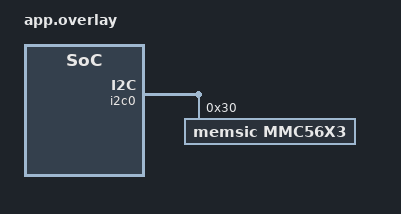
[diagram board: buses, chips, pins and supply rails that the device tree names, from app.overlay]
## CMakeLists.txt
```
# Copyright The Zephyr Project Contributors
# SPDX-License-Identifier: Apache-2.0

cmake_minimum_required(VERSION 3.28.0)
find_package(Zephyr REQUIRED HINTS $ENV{ZEPHYR_BASE})
project(mmc56x3)

target_include_directories(app PRIVATE ${ZEPHYR_BASE}/drivers/sensor/memsic/mmc56x3)
target_sources(app PRIVATE src/main.c)
```

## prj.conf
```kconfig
# Copyright The Zephyr Project Contributors
# SPDX-License-Identifier: Apache-2.0

CONFIG_ZTEST=y
CONFIG_SENSOR=y
CONFIG_SENSOR_ASYNC_API=y
# Enables the emulated I2C controller the device sits on
CONFIG_EMUL=y
# No emulator backs the device itself, so its initialization fails: only its decoder is tested
CONFIG_SENSOR_LOG_LEVEL_OFF=y
```

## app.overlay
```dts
/*
 * Copyright The Zephyr Project Contributors
 *
 * SPDX-License-Identifier: Apache-2.0
 */

&i2c0 {
	mmc56x3: mmc56x3@30 {
		compatible = "memsic,mmc56x3";
		reg = <0x30>;
		magn-odr = <0>;
	};
};
```

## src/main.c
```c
/*
 * Copyright The Zephyr Project Contributors
 *
 * SPDX-License-Identifier: Apache-2.0
 */

#include <string.h>

#include <zephyr/drivers/sensor.h>
#include <zephyr/ztest.h>

#include "mmc56x3.h"

/* Allowed error of a decoded magnetic field, in micro-Gauss */
#define TOLERANCE_UGAUSS 1
/* Allowed error of a decoded temperature, in micro-degC */
#define TOLERANCE_UCEL   10

#define MAGN_LSB_PER_GAUSS 16384
#define MAGN_MIN           (-(1 << 19))
#define MAGN_MAX           ((1 << 19) - 1)

#define TIMESTAMP_NS 123456789012ULL

static const struct sensor_decoder_api *decoder = SENSOR_DECODER_DT_GET(DT_NODELABEL(mmc56x3));

static const struct sensor_chan_spec chan_temp = {SENSOR_CHAN_AMBIENT_TEMP, 0};
static const struct sensor_chan_spec chan_x = {SENSOR_CHAN_MAGN_X, 0};
static const struct sensor_chan_spec chan_y = {SENSOR_CHAN_MAGN_Y, 0};
static const struct sensor_chan_spec chan_z = {SENSOR_CHAN_MAGN_Z, 0};
static const struct sensor_chan_spec chan_xyz = {SENSOR_CHAN_MAGN_XYZ, 0};

static int64_t q31_to_micro(q31_t value, int8_t shift)
{
	return ((int64_t)value * 1000000) >> (31 - shift);
}

static void check_magn(q31_t value, int8_t shift, int32_t raw)
{
	int64_t expected = (int64_t)raw * 1000000 / MAGN_LSB_PER_GAUSS;
	int64_t actual = q31_to_micro(value, shift);

	zassert_within(actual, expected, TOLERANCE_UGAUSS, "raw %d: got %lld, expected %lld", raw,
		       actual, expected);
}

static void check_temp(q31_t value, int8_t shift, uint32_t raw)
{
	int64_t expected = -75000000LL + (int64_t)raw * 800000;
	int64_t actual = q31_to_micro(value, shift);

	zassert_within(actual, expected, TOLERANCE_UCEL, "raw %u: got %lld, expected %lld", raw,
		       actual, expected);
}

static void fill_edata(struct mmc56x3_encoded_data *edata, bool temp, bool x, bool y, bool z)
{
	memset(edata, 0, sizeof(*edata));
	edata->header.timestamp = TIMESTAMP_NS;
	edata->has_temp = temp ? 1 : 0;
	edata->has_magn_x = x ? 1 : 0;
	edata->has_magn_y = y ? 1 : 0;
	edata->has_magn_z = z ? 1 : 0;
	edata->data.temp = 125;
	edata->data.magn_x = MAGN_LSB_PER_GAUSS;
	edata->data.magn_y = MAGN_MIN;
	edata->data.magn_z = MAGN_MAX;
}

/* Decode a q31 channel, checking the header and the timestamp */
static q31_t decode_q31(const uint8_t *buffer, struct sensor_chan_spec chan, int8_t shift)
{
	struct sensor_q31_data out;
	uint16_t frame_count;
	uint32_t fit = 0;

	zassert_ok(decoder->get_frame_count(buffer, chan, &frame_count));
	zassert_equal(frame_count, 1);

	memset(&out, 0xff, sizeof(out));
	zassert_equal(decoder->decode(buffer, chan, &fit, 1, &out), 1);
	zassert_equal(out.header.reading_count, 1);
	zassert_equal(out.header.base_timestamp_ns, TIMESTAMP_NS);
	zassert_equal(out.readings[0].timestamp_delta, 0);
	zassert_equal(out.shift, shift);
	zassert_equal(decoder->decode(buffer, chan, &fit, 1, &out), 0);

	return out.readings[0].value;
}

static void check_unsupported(const uint8_t *buffer, struct sensor_chan_spec chan)
{
	struct sensor_three_axis_data out;
	size_t base_size;
	size_t frame_size;
	uint16_t frame_count;
	uint32_t fit = 0;

	zassert_equal(decoder->get_size_info(chan, &base_size, &frame_size), -ENOTSUP);
	zassert_equal(decoder->get_frame_count(buffer, chan, &frame_count), -ENOTSUP);
	zassert_equal(decoder->decode(buffer, chan, &fit, 1, &out), -ENOTSUP);
	zassert_equal(decoder->decode(buffer, chan, &fit, 0, &out), -ENOTSUP);
}

/* A channel the buffer was not read for */
static void check_absent(const uint8_t *buffer, struct sensor_chan_spec chan)
{
	struct sensor_three_axis_data out;
	uint16_t frame_count = 1;
	uint32_t fit = 0;

	zassert_equal(decoder->get_frame_count(buffer, chan, &frame_count), -ENOTSUP);
	zassert_equal(frame_count, 0);
	zassert_equal(decoder->decode(buffer, chan, &fit, 1, &out), -ENODATA);
	zassert_equal(decoder->decode(buffer, chan, &fit, 0, &out), -ENODATA);
}

ZTEST(mmc56x3_decoder, test_size_info)
{
	const struct sensor_chan_spec q31_chans[] = {chan_temp, chan_x, chan_y, chan_z};
	size_t base_size;
	size_t frame_size;

	ARRAY_FOR_EACH(q31_chans, i) {
		zassert_ok(decoder->get_size_info(q31_chans[i], &base_size, &frame_size));
		zassert_equal(base_size, sizeof(struct sensor_q31_data));
		zassert_equal(frame_size, sizeof(struct sensor_q31_sample_data));
	}

	zassert_ok(decoder->get_size_info(chan_xyz, &base_size, &frame_size));
	zassert_equal(base_size, sizeof(struct sensor_three_axis_data));
	zassert_equal(frame_size, sizeof(struct sensor_three_axis_sample_data));
}

ZTEST(mmc56x3_decoder, test_magn_xyz)
{
	struct mmc56x3_encoded_data edata;
	const uint8_t *buffer = (const uint8_t *)&edata;
	struct sensor_three_axis_data out;
	uint16_t frame_count;
	uint32_t fit = 0;

	fill_edata(&edata, false, true, true, true);

	zassert_ok(decoder->get_frame_count(buffer, chan_xyz, &frame_count));
	zassert_equal(frame_count, 1);

	/* All readings in one call */
	memset(&out, 0xff, sizeof(out));
	zassert_equal(decoder->decode(buffer, chan_xyz, &fit, 4, &out), 1);
	zassert_equal(out.header.reading_count, 1);
	zassert_equal(out.header.base_timestamp_ns, TIMESTAMP_NS);
	zassert_equal(out.readings[0].timestamp_delta, 0);
	zassert_equal(out.shift, 5);
	check_magn(out.readings[0].x, out.shift, MAGN_LSB_PER_GAUSS);
	check_magn(out.readings[0].y, out.shift, MAGN_MIN);
	check_magn(out.readings[0].z, out.shift, MAGN_MAX);
	zassert_equal(decoder->decode(buffer, chan_xyz, &fit, 4, &out), 0);

	/* One by one */
	fit = 0;
	zassert_equal(decoder->decode(buffer, chan_xyz, &fit, 0, &out), 0);
	zassert_equal(decoder->decode(buffer, chan_xyz, &fit, 1, &out), 1);
	zassert_equal(decoder->decode(buffer, chan_xyz, &fit, 1, &out), 0);

	zassert_is_null(decoder->has_trigger);

	check_absent(buffer, chan_temp);
	check_unsupported(buffer, (struct sensor_chan_spec){SENSOR_CHAN_ACCEL_XYZ, 0});
	check_unsupported(buffer, (struct sensor_chan_spec){SENSOR_CHAN_MAGN_XYZ, 1});
	check_unsupported(buffer, (struct sensor_chan_spec){SENSOR_CHAN_MAGN_X, 1});
}

ZTEST(mmc56x3_decoder, test_magn_axes)
{
	struct mmc56x3_encoded_data edata;
	const uint8_t *buffer = (const uint8_t *)&edata;

	fill_edata(&edata, false, true, true, true);
	edata.data.magn_x = -1;
	edata.data.magn_y = 30 * MAGN_LSB_PER_GAUSS;
	edata.data.magn_z = -30 * MAGN_LSB_PER_GAUSS;

	check_magn(decode_q31(buffer, chan_x, 5), 5, -1);
	check_magn(decode_q31(buffer, chan_y, 5), 5, 30 * MAGN_LSB_PER_GAUSS);
	check_magn(decode_q31(buffer, chan_z, 5), 5, -30 * MAGN_LSB_PER_GAUSS);
}

ZTEST(mmc56x3_decoder, test_magn_partial)
{
	struct mmc56x3_encoded_data edata;
	const uint8_t *buffer = (const uint8_t *)&edata;

	/* Only the X and Z axes were requested */
	fill_edata(&edata, false, true, false, true);

	check_magn(decode_q31(buffer, chan_x, 5), 5, MAGN_LSB_PER_GAUSS);
	check_magn(decode_q31(buffer, chan_z, 5), 5, MAGN_MAX);
	check_absent(buffer, chan_y);
	check_absent(buffer, chan_xyz);
	check_absent(buffer, chan_temp);
}

ZTEST(mmc56x3_decoder, test_temp)
{
	const uint32_t raw_values[] = {0, 1, 94, 125, 200, 253};
	struct mmc56x3_encoded_data edata;
	const uint8_t *buffer = (const uint8_t *)&edata;

	fill_edata(&edata, true, false, false, false);

	ARRAY_FOR_EACH(raw_values, i) {
		edata.data.temp = raw_values[i];
		check_temp(decode_q31(buffer, chan_temp, 7), 7, raw_values[i]);
	}

	check_absent(buffer, chan_x);
	check_absent(buffer, chan_y);
	check_absent(buffer, chan_z);
	check_absent(buffer, chan_xyz);
}

ZTEST(mmc56x3_decoder, test_temp_saturation)
{
	struct mmc56x3_encoded_data edata;
	const uint8_t *buffer = (const uint8_t *)&edata;

	/* 128.2 and 129 degC do not fit the output range and saturate */
	fill_edata(&edata, true, false, false, false);
	edata.data.temp = 254;
	zassert_equal(decode_q31(buffer, chan_temp, 7), INT32_MAX);
	edata.data.temp = 255;
	zassert_equal(decode_q31(buffer, chan_temp, 7), INT32_MAX);
}

ZTEST(mmc56x3_decoder, test_all)
{
	struct mmc56x3_encoded_data edata;
	const uint8_t *buffer = (const uint8_t *)&edata;

	/* SENSOR_CHAN_ALL was requested */
	fill_edata(&edata, true, true, true, true);

	check_temp(decode_q31(buffer, chan_temp, 7), 7, 125);
	check_magn(decode_q31(buffer, chan_x, 5), 5, MAGN_LSB_PER_GAUSS);
	check_magn(decode_q31(buffer, chan_y, 5), 5, MAGN_MIN);
	check_magn(decode_q31(buffer, chan_z, 5), 5, MAGN_MAX);
}

ZTEST_SUITE(mmc56x3_decoder, NULL, NULL, NULL, NULL, NULL);
```
